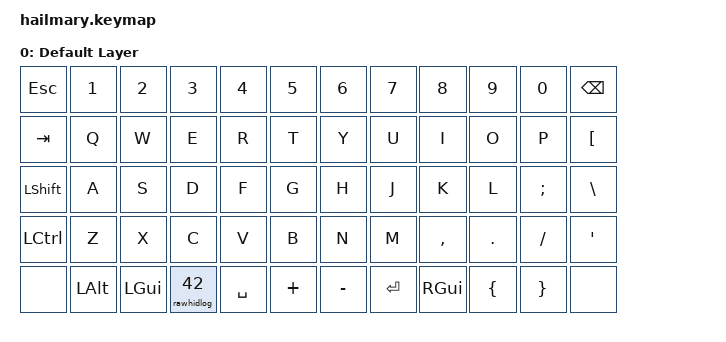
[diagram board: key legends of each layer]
#include <behaviors.dtsi>
#include <dt-bindings/zmk/keys.h>

/ {
    keymap {
        compatible = "zmk,keymap";
        default_layer {
            display-name = "Default Layer";
            bindings = <
            &kp ESC    &kp N1    &kp N2    &kp N3     &kp N4    &kp N5      &kp N6    &kp N7    &kp N8     &kp N9    &kp N0    &kp BSPC
            &kp TAB    &kp Q     &kp W     &kp E      &kp R     &kp T       &kp Y     &kp U     &kp I      &kp O     &kp P     &kp LBKT
            &kp LSHFT  &kp A     &kp S     &kp D      &kp F     &kp G       &kp H     &kp J     &kp K      &kp L     &kp SEMI  &kp BACKSLASH
            &kp LCTRL  &kp Z     &kp X     &kp C      &kp V     &kp B       &kp N     &kp M     &kp COMMA  &kp DOT   &kp SLASH  &kp SINGLE_QUOTE
            &none      &kp LALT  &kp LGUI  &rawhidlog 42 &kp SPACE &kp PLUS    &kp MINUS &kp RET   &kp RGUI   &kp LEFT_BRACE  &kp RIGHT_BRACE  &none
        >;
        };
    };
};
